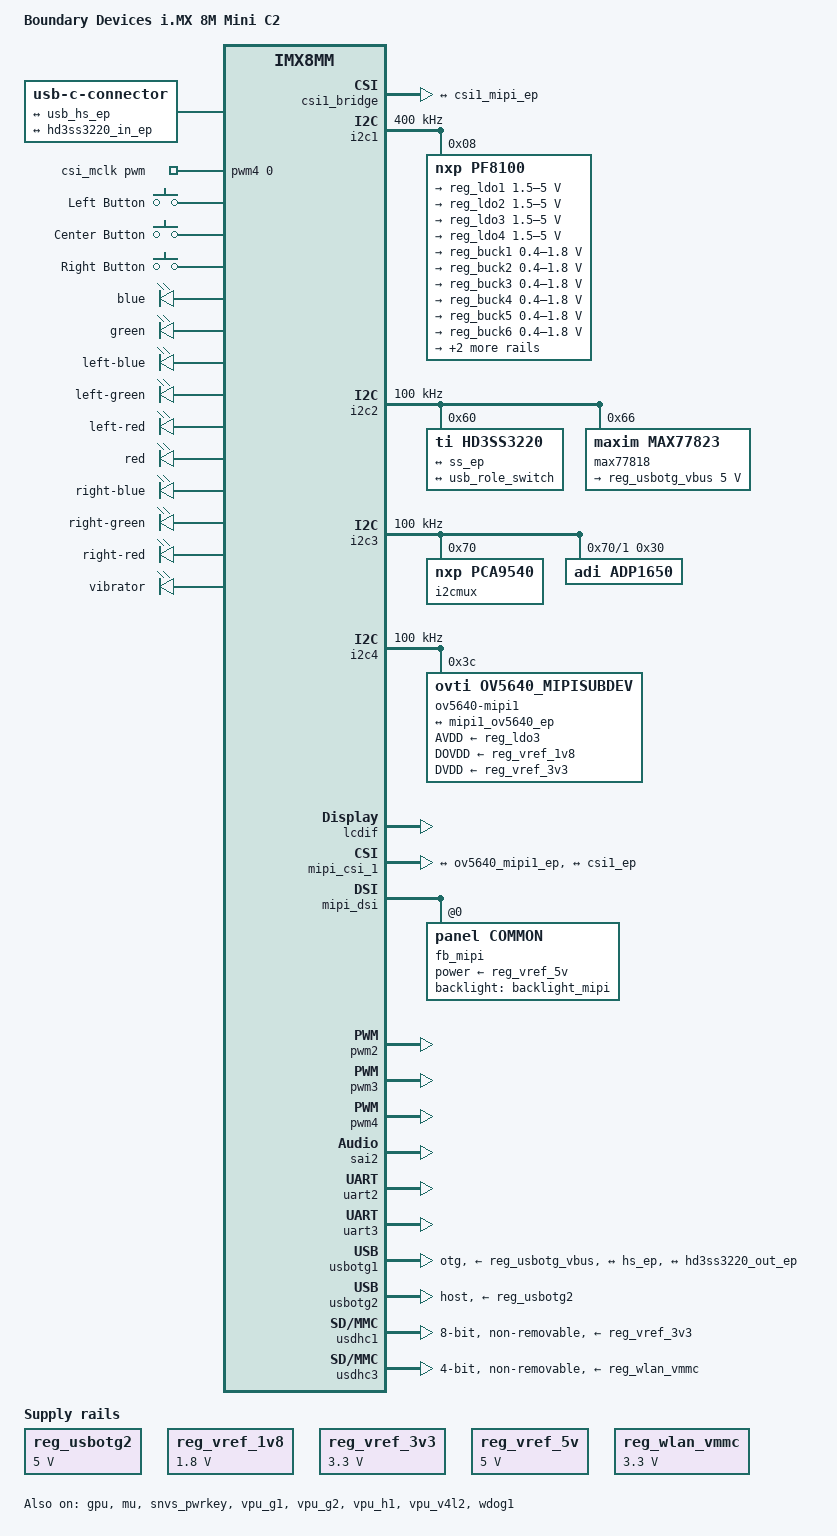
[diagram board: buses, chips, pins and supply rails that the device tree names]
// SPDX-License-Identifier: (GPL-2.0+ OR MIT)
/*
 * Copyright 2021 Boundary Devices
 */

/dts-v1/;
#include "imx8mm.dtsi"
#include "panel-dlc0350gev06.dtsi"
#include "panel-ltk080a60a004t.dtsi"
#include "panel-m101nwwb.dtsi"
#define MX8MMN(a, b)	MX8MM_##a b
#define IMX8MMN(a)	IMX8MM_##a

&iomuxc {
	pinctrl-names = "default";
	pinctrl-0 = <&pinctrl_hog>;

	pinctrl_bt_rfkill: bt-rfkillgrp {
		fsl,pins = <
#define GP_BT_RFKILL_RESET	<&gpio3 14 GPIO_ACTIVE_LOW>
			MX8MMN(IOMUXC_NAND_DQS_GPIO3_IO14, 0x119)
		>;
	};

	pinctrl_gpio_keys: gpio-keysgrp {
		fsl,pins = <
#define GP_GPIOKEY_LEFT		<&gpio5 27 GPIO_ACTIVE_LOW>
			MX8MMN(IOMUXC_UART3_TXD_GPIO5_IO27, 0x149)
#define GP_GPIOKEY_CENTER	<&gpio1 8 GPIO_ACTIVE_LOW>
			MX8MMN(IOMUXC_GPIO1_IO08_GPIO1_IO8, 0x149)
#define GP_GPIOKEY_RIGHT	<&gpio1 6 GPIO_ACTIVE_LOW>
			MX8MMN(IOMUXC_GPIO1_IO06_GPIO1_IO6, 0x149)
		>;
	};

	pinctrl_hog: hoggrp {
		fsl,pins = <
			/* Fasboot button */
			MX8MMN(IOMUXC_GPIO1_IO07_GPIO1_IO7, 0x149)
			/* JS_PIN5 */
			MX8MMN(IOMUXC_UART3_RXD_GPIO5_IO26, 0x149)
			/* JS_PIN6 */
			MX8MMN(IOMUXC_GPIO1_IO14_GPIO1_IO14, 0x149)
		>;
	};

	pinctrl_i2c1: i2c1grp {
		fsl,pins = <
			MX8MMN(IOMUXC_I2C1_SCL_I2C1_SCL, 0x400000c3)
			MX8MMN(IOMUXC_I2C1_SDA_I2C1_SDA, 0x400000c3)
		>;
	};

	pinctrl_i2c1_1: i2c1_1grp {
		fsl,pins = <
#define GP_I2C1_SCL	<&gpio5 14 GPIO_OPEN_DRAIN>
			MX8MMN(IOMUXC_I2C1_SCL_GPIO5_IO14, 0x400000c3)
#define GP_I2C1_SDA	<&gpio5 15 GPIO_OPEN_DRAIN>
			MX8MMN(IOMUXC_I2C1_SDA_GPIO5_IO15, 0x400000c3)
		>;
	};

	pinctrl_i2c1_pf8100: i2c1-pf8100grp {
		fsl,pins = <
#define GP_I2C1_PF8100_EWARN	<&gpio3 3 GPIO_ACTIVE_LOW>
			MX8MMN(IOMUXC_NAND_CE2_B_GPIO3_IO3, 0x149)
#define GP_I2C1_PF8100_FAULT	<&gpio3 4 GPIO_ACTIVE_LOW>
			MX8MMN(IOMUXC_NAND_CE3_B_GPIO3_IO4, 0x149)
		>;
	};

	pinctrl_i2c2: i2c2grp {
		fsl,pins = <
			MX8MMN(IOMUXC_I2C2_SCL_I2C2_SCL, 0x400000c3)
			MX8MMN(IOMUXC_I2C2_SDA_I2C2_SDA, 0x400000c3)
		>;
	};

	pinctrl_i2c2_1: i2c2_1grp {
		fsl,pins = <
#define GP_I2C2_SCL	<&gpio5 16 GPIO_OPEN_DRAIN>
			MX8MMN(IOMUXC_I2C2_SCL_GPIO5_IO16, 0x400000c3)
#define GP_I2C2_SDA	<&gpio5 17 GPIO_OPEN_DRAIN>
			MX8MMN(IOMUXC_I2C2_SDA_GPIO5_IO17, 0x400000c3)
		>;
	};

	pinctrl_i2c2_hd3ss3220: i2c2-hd3ss3220grp {
		fsl,pins = <
#define GPIRQ_HD3SS3220	<&gpio3 25 IRQ_TYPE_LEVEL_LOW>
			MX8MMN(IOMUXC_SAI5_MCLK_GPIO3_IO25, 0x149)
			MX8MMN(IOMUXC_SAI5_RXFS_GPIO3_IO19, 0x109)
		>;
	};

	pinctrl_i2c2_max77818: i2c2-max77818grp {
		fsl,pins = <
#define GPIRQ_MAX77818_WCHG_VALID_INT	<&gpio5 0 IRQ_TYPE_LEVEL_LOW>
			MX8MMN(IOMUXC_SAI3_TXC_GPIO5_IO0, 0x149)
#define GPIRQ_MAX77818_WCHG_VALID	<&gpio4 31 IRQ_TYPE_LEVEL_LOW>
			MX8MMN(IOMUXC_SAI3_TXFS_GPIO4_IO31, 0x149)
#define GPIRQ_MAX77818_CHG_INT		<&gpio1 5 IRQ_TYPE_LEVEL_LOW>
			MX8MMN(IOMUXC_GPIO1_IO05_GPIO1_IO5, 0x149)
		>;
	};

	pinctrl_i2c3: i2c3grp {
		fsl,pins = <
			MX8MMN(IOMUXC_I2C3_SCL_I2C3_SCL, 0x400000c3)
			MX8MMN(IOMUXC_I2C3_SDA_I2C3_SDA, 0x400000c3)
		>;
	};

	pinctrl_i2c3_1: i2c3_1grp {
		fsl,pins = <
#define GP_I2C3_SCL	<&gpio5 18 GPIO_OPEN_DRAIN>
			MX8MMN(IOMUXC_I2C3_SCL_GPIO5_IO18, 0x400000c3)
#define GP_I2C3_SDA	<&gpio5 19 GPIO_OPEN_DRAIN>
			MX8MMN(IOMUXC_I2C3_SDA_GPIO5_IO19, 0x400000c3)
		>;
	};

	pinctrl_sn65dsi83: sn65dsi83grp {
		fsl,pins = <
#define GPIRQ_SN65DSI83	<&gpio1 1 IRQ_TYPE_LEVEL_HIGH>
			MX8MMN(IOMUXC_GPIO1_IO01_GPIO1_IO1, 0x04)
#define GP_SN65DSI83_EN	<&gpio1 9 GPIO_ACTIVE_HIGH>
			MX8MMN(IOMUXC_GPIO1_IO09_GPIO1_IO9, 0x106)
		>;
	};

	pinctrl_ts_gt911: ts-gt911grp {
		fsl,pins = <
#define GPIRQ_GT911 		<&gpio5 22 IRQ_TYPE_LEVEL_HIGH>
#define GP_GT911_IRQ 		<&gpio5 22 GPIO_ACTIVE_HIGH>
			MX8MMN(IOMUXC_UART1_RXD_GPIO5_IO22, 0x1d6)
			/* driver writes levels, instead of active/inactive */
#define GP_GT911_RESET		<&gpio5 23 GPIO_ACTIVE_HIGH>
			MX8MMN(IOMUXC_UART1_TXD_GPIO5_IO23, 0x149)
		>;
	};

	pinctrl_ts_ft5x06: ts-ft5x06grp {
		fsl,pins = <
#define GPIRQ_TS_FT5X06	<&gpio5 22 IRQ_TYPE_EDGE_FALLING>
#define GP_TS_FT5X06_WAKE	<&gpio5 22 GPIO_ACTIVE_LOW>
			MX8MMN(IOMUXC_UART1_RXD_GPIO5_IO22, 0x149)
#define GP_TS_FT5X06_RESET	<&gpio5 23 GPIO_ACTIVE_LOW>
			MX8MMN(IOMUXC_UART1_TXD_GPIO5_IO23, 0x109)
		>;
	};

	pinctrl_i2c3b_adp1650: i2c3b-adp1650grp {
		fsl,pins = <
#define GP_FLASH_EN		<&gpio3 21 GPIO_ACTIVE_HIGH>
			MX8MMN(IOMUXC_SAI5_RXD0_GPIO3_IO21, 0x109)
#define GP_FLASH_STROBE		<&gpio3 22 GPIO_ACTIVE_HIGH>
			MX8MMN(IOMUXC_SAI5_RXD1_GPIO3_IO22, 0x109)
#define GP_TORCH_EN		<&gpio5 29 GPIO_ACTIVE_HIGH>
			MX8MMN(IOMUXC_UART4_TXD_GPIO5_IO29, 0x109)
		>;
	};

	pinctrl_i2c4: i2c4grp {
		fsl,pins = <
			MX8MMN(IOMUXC_I2C4_SCL_I2C4_SCL, 0x400000c3)
			MX8MMN(IOMUXC_I2C4_SDA_I2C4_SDA, 0x400000c3)
		>;
	};

	pinctrl_i2c4_1: i2c4_1grp {
		fsl,pins = <
#define GP_I2C4_SCL	<&gpio5 20 GPIO_OPEN_DRAIN>
			MX8MMN(IOMUXC_I2C4_SCL_GPIO5_IO20, 0x400000c3)
#define GP_I2C4_SDA	<&gpio5 21 GPIO_OPEN_DRAIN>
			MX8MMN(IOMUXC_I2C4_SDA_GPIO5_IO21, 0x400000c3)
		>;
	};

	pinctrl_i2c4_ov5640_mipi: i2c4-ov5640-mipigrp {
		fsl,pins = <
#define GP_OV5640_MIPI_POWER_DOWN	<&gpio1 11 GPIO_ACTIVE_HIGH>
			MX8MMN(IOMUXC_GPIO1_IO11_GPIO1_IO11, 0x141)
#define GP_OV5640_MIPI_RESET		<&gpio1 10 GPIO_ACTIVE_LOW>
			MX8MMN(IOMUXC_GPIO1_IO10_GPIO1_IO10, 0x101)
		>;
	};

	pinctrl_leds: ledsgrp {
		fsl,pins = <
#define GP_LED_BLUE		<&gpio2 18 GPIO_ACTIVE_HIGH>
			MX8MMN(IOMUXC_SD2_DATA3_GPIO2_IO18, 0x109)
#define GP_LED_GREEN		<&gpio2 17 GPIO_ACTIVE_HIGH>
			MX8MMN(IOMUXC_SD2_DATA2_GPIO2_IO17, 0x109)
#define GP_LED_RED		<&gpio2 16 GPIO_ACTIVE_HIGH>
			MX8MMN(IOMUXC_SD2_DATA1_GPIO2_IO16, 0x109)
#define GP_LED_LEFT_BLUE	<&gpio2 19 GPIO_ACTIVE_HIGH>
			MX8MMN(IOMUXC_SD2_RESET_B_GPIO2_IO19, 0x109)
#define GP_LED_LEFT_GREEN	<&gpio2 12 GPIO_ACTIVE_HIGH>
			MX8MMN(IOMUXC_SD2_CD_B_GPIO2_IO12, 0x109)
#define GP_LED_LEFT_RED		<&gpio2 20 GPIO_ACTIVE_HIGH>
			MX8MMN(IOMUXC_SD2_WP_GPIO2_IO20, 0x109)
#define GP_LED_RIGHT_BLUE	<&gpio2 15 GPIO_ACTIVE_HIGH>
			MX8MMN(IOMUXC_SD2_DATA0_GPIO2_IO15, 0x109)
#define GP_LED_RIGHT_GREEN	<&gpio2 14 GPIO_ACTIVE_HIGH>
			MX8MMN(IOMUXC_SD2_CMD_GPIO2_IO14, 0x109)
#define GP_LED_RIGHT_RED	<&gpio2 13 GPIO_ACTIVE_HIGH>
			MX8MMN(IOMUXC_SD2_CLK_GPIO2_IO13, 0x109)
#define GP_LED_VIBRATOR		<&gpio3 24 GPIO_ACTIVE_HIGH>
			MX8MMN(IOMUXC_SAI5_RXD3_GPIO3_IO24, 0x109)
		>;
	};

	pinctrl_mipi_dlc0350gev06: mipi-dlc0350gev06grp {
		fsl,pins = <
/* Reset pin used as enable */
#define GP_DLC0350_ENABLE	<&gpio1 3 GPIO_OPEN_DRAIN>
			MX8MMN(IOMUXC_GPIO1_IO03_GPIO1_IO3, 0x16)
		>;
	};

	pinctrl_mipi_ltk0680ytmdb: mipi-ltk0680ytmdbgrp {
		fsl,pins = <
#define GP_MIPI_RESET	<&gpio1 9 GPIO_ACTIVE_LOW>
			MX8MMN(IOMUXC_GPIO1_IO09_GPIO1_IO9, 0x16)
		>;
	};

	pinctrl_mipi_ltk080a60a004t: mipi-ltk080a60a004tgrp {
		fsl,pins = <
#define GP_LTK08_MIPI_EN	<&gpio1 1 GPIO_ACTIVE_HIGH>
			MX8MMN(IOMUXC_GPIO1_IO01_GPIO1_IO1, 0x116)
		>;
	};

	pinctrl_pwm2: pwm2grp {
		fsl,pins = <
			MX8MMN(IOMUXC_SPDIF_RX_PWM2_OUT, 0x16)
		>;
	};

	pinctrl_pwm3: pwm3grp {
		fsl,pins = <
			MX8MMN(IOMUXC_SPDIF_TX_PWM3_OUT, 0x16)
		>;
	};

	pinctrl_pwm4: pwm4grp {
		fsl,pins = <
			MX8MMN(IOMUXC_SAI3_MCLK_PWM4_OUT, 0x16)
		>;
	};

	pinctrl_reg_usbotg2: reg-usbotg2grp {
		fsl,pins = <
#define GP_USBOTG2_EN	<&gpio3 23 GPIO_ACTIVE_HIGH>
			MX8MMN(IOMUXC_SAI5_RXD2_GPIO3_IO23, 0x09)
		>;
	};

	pinctrl_reg_wlan_vmmc: reg-wlan-vmmcgrp {
		fsl,pins = <
#define GP_REG_WLAN_VMMC	<&gpio3 20 GPIO_ACTIVE_HIGH>
			MX8MMN(IOMUXC_SAI5_RXC_GPIO3_IO20, 0x16)
		>;
	};

	pinctrl_sai2: sai2grp {
		fsl,pins = <
			/* Bluetooth PCM */
			MX8MMN(IOMUXC_SAI2_TXFS_SAI2_TX_SYNC, 0xd6)
			MX8MMN(IOMUXC_SAI2_TXC_SAI2_TX_BCLK, 0xd6)
			MX8MMN(IOMUXC_SAI2_TXD0_SAI2_TX_DATA0, 0xd6)
			MX8MMN(IOMUXC_SAI2_RXD0_SAI2_RX_DATA0, 0xd6)
		>;
	};

	pinctrl_uart2: uart2grp {
		fsl,pins = <
			MX8MMN(IOMUXC_UART2_RXD_UART2_DCE_RX, 0x140)
			MX8MMN(IOMUXC_UART2_TXD_UART2_DCE_TX, 0x140)
		>;
	};

	pinctrl_uart3: uart3grp {
		fsl,pins = <
			MX8MMN(IOMUXC_ECSPI1_SCLK_UART3_DCE_RX, 0x140)
			MX8MMN(IOMUXC_ECSPI1_MOSI_UART3_DCE_TX, 0x140)
			MX8MMN(IOMUXC_ECSPI1_SS0_UART3_DCE_RTS_B, 0x140)
			MX8MMN(IOMUXC_ECSPI1_MISO_UART3_DCE_CTS_B, 0x140)
		>;
	};

	pinctrl_usbotg1: usbotg1grp {
		fsl,pins = <
			MX8MMN(IOMUXC_GPIO1_IO12_USB1_OTG_PWR, 0x16)
			MX8MMN(IOMUXC_GPIO1_IO13_USB1_OTG_OC, 0x156)
		>;
	};

	pinctrl_usdhc1: usdhc1grp {
		fsl,pins = <
			MX8MMN(IOMUXC_SD1_CLK_USDHC1_CLK, 0x190)
			MX8MMN(IOMUXC_SD1_CMD_USDHC1_CMD, 0x1d0)
			MX8MMN(IOMUXC_SD1_DATA0_USDHC1_DATA0, 0x1d0)
			MX8MMN(IOMUXC_SD1_DATA1_USDHC1_DATA1, 0x1d0)
			MX8MMN(IOMUXC_SD1_DATA2_USDHC1_DATA2, 0x1d0)
			MX8MMN(IOMUXC_SD1_DATA3_USDHC1_DATA3, 0x1d0)
			MX8MMN(IOMUXC_SD1_DATA4_USDHC1_DATA4, 0x1d0)
			MX8MMN(IOMUXC_SD1_DATA5_USDHC1_DATA5, 0x1d0)
			MX8MMN(IOMUXC_SD1_DATA6_USDHC1_DATA6, 0x1d0)
			MX8MMN(IOMUXC_SD1_DATA7_USDHC1_DATA7, 0x1d0)
#define GP_EMMC_RESET		<&gpio2 10 GPIO_ACTIVE_LOW>
			MX8MMN(IOMUXC_SD1_RESET_B_GPIO2_IO10, 0x141)
		>;
	};

	pinctrl_usdhc1_100mhz: usdhc1grp100mhz {
		fsl,pins = <
			MX8MMN(IOMUXC_SD1_CLK_USDHC1_CLK, 0x194)
			MX8MMN(IOMUXC_SD1_CMD_USDHC1_CMD, 0x1d4)
			MX8MMN(IOMUXC_SD1_DATA0_USDHC1_DATA0, 0x1d4)
			MX8MMN(IOMUXC_SD1_DATA1_USDHC1_DATA1, 0x1d4)
			MX8MMN(IOMUXC_SD1_DATA2_USDHC1_DATA2, 0x1d4)
			MX8MMN(IOMUXC_SD1_DATA3_USDHC1_DATA3, 0x1d4)
			MX8MMN(IOMUXC_SD1_DATA4_USDHC1_DATA4, 0x1d4)
			MX8MMN(IOMUXC_SD1_DATA5_USDHC1_DATA5, 0x1d4)
			MX8MMN(IOMUXC_SD1_DATA6_USDHC1_DATA6, 0x1d4)
			MX8MMN(IOMUXC_SD1_DATA7_USDHC1_DATA7, 0x1d4)
		>;
	};

	pinctrl_usdhc1_200mhz: usdhc1grp200mhz {
		fsl,pins = <
			MX8MMN(IOMUXC_SD1_CLK_USDHC1_CLK, 0x196)
			MX8MMN(IOMUXC_SD1_CMD_USDHC1_CMD, 0x1d6)
			MX8MMN(IOMUXC_SD1_DATA0_USDHC1_DATA0, 0x1d6)
			MX8MMN(IOMUXC_SD1_DATA1_USDHC1_DATA1, 0x1d6)
			MX8MMN(IOMUXC_SD1_DATA2_USDHC1_DATA2, 0x1d6)
			MX8MMN(IOMUXC_SD1_DATA3_USDHC1_DATA3, 0x1d6)
			MX8MMN(IOMUXC_SD1_DATA4_USDHC1_DATA4, 0x1d6)
			MX8MMN(IOMUXC_SD1_DATA5_USDHC1_DATA5, 0x1d6)
			MX8MMN(IOMUXC_SD1_DATA6_USDHC1_DATA6, 0x1d6)
			MX8MMN(IOMUXC_SD1_DATA7_USDHC1_DATA7, 0x1d6)
		>;
	};

	pinctrl_usdhc3: usdhc3grp {
		fsl,pins = <
			MX8MMN(IOMUXC_NAND_WE_B_USDHC3_CLK, 0x190)
			MX8MMN(IOMUXC_NAND_WP_B_USDHC3_CMD, 0x1d0)
			MX8MMN(IOMUXC_NAND_DATA04_USDHC3_DATA0, 0x1d0)
			MX8MMN(IOMUXC_NAND_DATA05_USDHC3_DATA1, 0x1d0)
			MX8MMN(IOMUXC_NAND_DATA06_USDHC3_DATA2, 0x1d0)
			MX8MMN(IOMUXC_NAND_DATA07_USDHC3_DATA3, 0x1d0)
			/* Bluetooth slow clock */
			MX8MMN(IOMUXC_GPIO1_IO00_ANAMIX_REF_CLK_32K, 0x03)
		>;
	};

	pinctrl_usdhc3_100mhz: usdhc3grp100mhz {
		fsl,pins = <
			MX8MMN(IOMUXC_NAND_WE_B_USDHC3_CLK, 0x194)
			MX8MMN(IOMUXC_NAND_WP_B_USDHC3_CMD, 0x1d4)
			MX8MMN(IOMUXC_NAND_DATA04_USDHC3_DATA0, 0x1d4)
			MX8MMN(IOMUXC_NAND_DATA05_USDHC3_DATA1, 0x1d4)
			MX8MMN(IOMUXC_NAND_DATA06_USDHC3_DATA2, 0x1d4)
			MX8MMN(IOMUXC_NAND_DATA07_USDHC3_DATA3, 0x1d4)
		>;
	};

	pinctrl_usdhc3_200mhz: usdhc3grp200mhz {
		fsl,pins = <
			MX8MMN(IOMUXC_NAND_WE_B_USDHC3_CLK, 0x196)
			MX8MMN(IOMUXC_NAND_WP_B_USDHC3_CMD, 0x1d6)
			MX8MMN(IOMUXC_NAND_DATA04_USDHC3_DATA0, 0x1d6)
			MX8MMN(IOMUXC_NAND_DATA05_USDHC3_DATA1, 0x1d6)
			MX8MMN(IOMUXC_NAND_DATA06_USDHC3_DATA2, 0x1d6)
			MX8MMN(IOMUXC_NAND_DATA07_USDHC3_DATA3, 0x1d6)
		>;
	};

	pinctrl_wdog: wdoggrp {
		fsl,pins = <
			MX8MMN(IOMUXC_GPIO1_IO02_WDOG1_WDOG_B, 0x140)
		>;
	};
};

/ {
	model = "Boundary Devices i.MX 8M Mini C2";
	compatible = "boundary,imx8mm-c2", "fsl,imx8mm";

	aliases {
		backlight_mipi = &backlight_mipi;
		backlight_mipi2 = &backlight_mipi2;
		fb_mipi = &fb_mipi;
		lcdif = &lcdif;
		mipi = &fb_mipi;
		mipi_dsi = &mipi_dsi;
		mipi_to_lvds = &mipi_to_lvds;
		pwm_mipi = &pwm3;
		t_mipi = &t_mipi;
		ts_ft5x06 = &ts_ft5x06;
		ts_goodix = &ts_goodix;
	};

	backlight_mipi: backlight-mipi {
		alias = <&backlight_mipi>;
		brightness-levels = <0 1 2 3 4 5 6 7 8 9 10>;
		compatible = "pwm-backlight";
		default-brightness-level = <8>;
		display = <&display_subsystem>;
		pwms = <&pwm2 0 30000 0>;		/* 33.3 Khz */
		status = "disabled";
	};

	backlight_mipi2: backlight-mipi2 {
		alias = <&backlight_mipi2>;
		brightness-levels = <0 1 2 3 4 5 6 7 8 9 10>;
		compatible = "pwm-backlight";
		default-brightness-level = <8>;
		display = <&display_subsystem>;
		pwms = <&pwm3 0 30000 0>;		/* 33.3 Khz */
		status = "disabled";
	};

	bt-rfkill {
		compatible = "net,rfkill-gpio";
		pinctrl-names = "default";
		pinctrl-0 = <&pinctrl_bt_rfkill>;
		name = "bt-rfkill";
		type = <2>; /* Bluetooth */
		reset-gpios = GP_BT_RFKILL_RESET;
		status = "okay";
	};

	connector {
		compatible = "usb-c-connector";
		label = "USB-C";
		data-role = "dual";

		ports {
			#address-cells = <1>;
			#size-cells = <0>;

			port@0 {
				reg = <0>;
				hs_ep: endpoint {
					remote-endpoint = <&usb_hs_ep>;
				};
			};

			port@1 {
				reg = <1>;
				ss_ep: endpoint {
					remote-endpoint = <&hd3ss3220_in_ep>;
				};
			};
		};
	};

	csi_mclk: csi-mclk {
		compatible = "pwm-clock";
		#clock-cells = <0>;
		clock-frequency = <20000000>;
		clock-output-names = "csi_mclk";
		pwms = <&pwm4 0 50 0>; /* 1 / 50 ns = 20 MHz */
	};

	gpio-keys {
		compatible = "gpio-keys";
		pinctrl-names = "default";
		pinctrl-0 = <&pinctrl_gpio_keys>;

		left {
			label = "Left Button";
			gpios = GP_GPIOKEY_LEFT;
			linux,code = <KEY_BACK>;
			gpio-key,wakeup;
		};

		center {
			label = "Center Button";
			gpios = GP_GPIOKEY_CENTER;
			linux,code = <KEY_HOMEPAGE>;
			gpio-key,wakeup;
		};

		right {
			label = "Right Button";
			gpios = GP_GPIOKEY_RIGHT;
			linux,code = <KEY_MENU>;
			gpio-key,wakeup;
		};
	};

	leds: leds {
		compatible = "gpio-leds";
		pinctrl-names = "default";
		pinctrl-0 = <&pinctrl_leds>;

		blue {
			gpios = GP_LED_BLUE;
			default-state = "off";
			retain-state-suspended;
		};

		green {
			gpios = GP_LED_GREEN;
			default-state = "off";
			retain-state-suspended;
		};

		left-blue {
			gpios = GP_LED_LEFT_BLUE;
			default-state = "off";
			retain-state-suspended;
		};

		left-green {
			gpios = GP_LED_LEFT_GREEN;
			default-state = "off";
			retain-state-suspended;
		};

		left-red {
			gpios = GP_LED_LEFT_RED;
			default-state = "off";
			retain-state-suspended;
		};

		red {
			gpios = GP_LED_RED;
			default-state = "off";
			retain-state-suspended;
		};

		right-blue {
			gpios = GP_LED_RIGHT_BLUE;
			default-state = "off";
			retain-state-suspended;
		};

		right-green {
			gpios = GP_LED_RIGHT_GREEN;
			default-state = "off";
			retain-state-suspended;
		};

		right-red {
			gpios = GP_LED_RIGHT_RED;
			default-state = "off";
			retain-state-suspended;
		};

		vibrator {
			gpios = GP_LED_VIBRATOR;
			default-state = "off";
			linux,default-trigger = "transient";
		};
	};

	reg_usbotg2: regulator-usbotg2 {
		compatible = "regulator-fixed";
		enable-active-high;
		gpio = GP_USBOTG2_EN;
		pinctrl-names = "default";
		pinctrl-0 = <&pinctrl_reg_usbotg2>;
		regulator-name = "usbotg2";
		regulator-min-microvolt = <5000000>;
		regulator-max-microvolt = <5000000>;
	};

	reg_vref_1v8: regulator-vref-1v8 {
		compatible = "regulator-fixed";
		regulator-name = "vref-1v8";
		regulator-min-microvolt = <1800000>;
		regulator-max-microvolt = <1800000>;
	};

	reg_vref_3v3: regulator-vref-3v3 {
		compatible = "regulator-fixed";
		regulator-name = "vref-3v3";
		regulator-min-microvolt = <3300000>;
		regulator-max-microvolt = <3300000>;
	};

	reg_vref_5v: regulator-vref-5v {
		compatible = "regulator-fixed";
		regulator-name = "vref-5v";
		regulator-min-microvolt = <5000000>;
		regulator-max-microvolt = <5000000>;
	};

	reg_wlan_vmmc: regulator-wlan-vmmc {
		compatible = "regulator-fixed";
		pinctrl-names = "default";
		pinctrl-0 = <&pinctrl_reg_wlan_vmmc>;
		regulator-name = "reg_wlan_vmmc";
		regulator-min-microvolt = <3300000>;
		regulator-max-microvolt = <3300000>;
		gpio = GP_REG_WLAN_VMMC;
		startup-delay-us = <70000>;
		enable-active-high;
	};
};

&A53_0 {
	cpu-supply = <&reg_buck3>;
};

&csi1_bridge {
	fsl,mipi-mode;
	status = "okay";

	port {
		csi1_ep: endpoint {
			remote-endpoint = <&csi1_mipi_ep>;
		};
	};
};

&gpu {
	status = "okay";
};

&i2c1 {
	clock-frequency = <400000>;
	pinctrl-names = "default", "gpio";
	pinctrl-0 = <&pinctrl_i2c1>;
	pinctrl-1 = <&pinctrl_i2c1_1>;
	scl-gpios = GP_I2C1_SCL;
	sda-gpios = GP_I2C1_SDA;
	status = "okay";

	pf8100@8 {
		compatible = "nxp,pf8100";
		pinctrl-names = "default";
		pinctrl-0 = <&pinctrl_i2c1_pf8100>;
		reg = <0x08>;

		regulators {
			reg_ldo1: ldo1 {
				regulator-always-on;
				regulator-boot-on;
				regulator-max-microvolt = <5000000>;
				regulator-min-microvolt = <1500000>;
			};

			reg_ldo2: ldo2 {
				regulator-always-on;
				regulator-boot-on;
				regulator-max-microvolt = <5000000>;
				regulator-min-microvolt = <1500000>;
#if 0
				/* vselect low is 3.3V, high is 1.8V */
				vselect-en;
#endif
			};

			reg_ldo3: ldo3 {
				regulator-always-on;
				regulator-boot-on;
				regulator-max-microvolt = <5000000>;
				regulator-min-microvolt = <1500000>;
			};

			reg_ldo4: ldo4 {
				regulator-always-on;
				regulator-boot-on;
				regulator-max-microvolt = <5000000>;
				regulator-min-microvolt = <1500000>;
			};

			reg_buck1: buck1 {
				nxp,phase-shift = <0>;
				regulator-max-microamp = <4500000>;
				regulator-always-on;
				regulator-boot-on;
				regulator-max-microvolt = <1800000>;
				regulator-min-microvolt =  <400000>;
			};

			reg_buck2: buck2 {
				regulator-always-on;
				regulator-boot-on;
				regulator-max-microvolt = <1800000>;
				regulator-min-microvolt =  <400000>;
			};

			reg_buck3: buck3 {
				regulator-always-on;
				regulator-boot-on;
				regulator-max-microvolt = <1800000>;
				regulator-min-microvolt =  <400000>;
				fast-slew = <1>;
			};

			reg_buck4: buck4 {
				regulator-always-on;
				regulator-boot-on;
				regulator-max-microvolt = <1800000>;
				regulator-min-microvolt =  <400000>;
				fast-slew = <1>;
			};

			reg_buck5: buck5 {
				regulator-always-on;
				regulator-boot-on;
				regulator-max-microvolt = <1800000>;
				regulator-min-microvolt =  <400000>;
			};

			reg_buck6: buck6 {
				regulator-always-on;
				regulator-boot-on;
				regulator-max-microvolt = <1800000>;
				regulator-min-microvolt =  <400000>;
			};

			reg_buck7: buck7 {
				regulator-always-on;
				regulator-boot-on;
				regulator-max-microvolt = <4100000>;
				regulator-min-microvolt = <1000000>;
			};

			reg_vsnvs: vsnvs {
				regulator-always-on;
				regulator-boot-on;
				regulator-max-microvolt = <3300000>;
				regulator-min-microvolt = <1800000>;
			};
		};
	};
};

&i2c2 {
	clock-frequency = <100000>;
	pinctrl-names = "default", "gpio";
	pinctrl-0 = <&pinctrl_i2c2>;
	pinctrl-1 = <&pinctrl_i2c2_1>;
	scl-gpios = GP_I2C2_SCL;
	sda-gpios = GP_I2C2_SDA;
	status = "okay";

	hd3ss3220@60 {
		compatible = "ti,hd3ss3220";
		interrupts-extended = GPIRQ_HD3SS3220;
		pinctrl-names = "default";
		pinctrl-0 = <&pinctrl_i2c2_hd3ss3220>;
		reg = <0x60>;

		ports {
			#address-cells = <1>;
			#size-cells = <0>;

			port@0 {
				reg = <0>;
				hd3ss3220_in_ep: endpoint {
					remote-endpoint = <&ss_ep>;
				};
			};

			port@1 {
				reg = <1>;
				hd3ss3220_out_ep: endpoint {
					remote-endpoint = <&usb_role_switch>;
				};
			};
		};
	};

	max77818@66 {
		compatible = "maxim,max77823";
		pinctrl-names = "default";
		pinctrl-0 = <&pinctrl_i2c2_max77818>;
		reg = <0x66>;
		interrupts-extended = GPIRQ_MAX77818_CHG_INT;
		max77823,irq-gpio = GPIRQ_MAX77818_CHG_INT;
		max77823,wakeup = <1>;

		max77823_battery: battery {
			compatible = "samsung,sec-battery";
		};

		max77823_charger: charger {
			compatible = "samsung,max77823-charger";
		};

		max77823_fuelgauge: fuelgauge {
			compatible = "samsung,max77823-fuelgauge";
		};
	};
};

&i2c3 {
	clock-frequency = <100000>;
	pinctrl-names = "default", "gpio";
	pinctrl-0 = <&pinctrl_i2c3>;
	pinctrl-1 = <&pinctrl_i2c3_1>;
	scl-gpios = GP_I2C3_SCL;
	sda-gpios = GP_I2C3_SDA;
	status = "okay";

	i2cmux@70 {
		compatible = "nxp,pca9540";
		reg = <0x70>;
		#address-cells = <1>;
		#size-cells = <0>;

		i2c3a: i2c3@0 {
			reg = <0>;
			#address-cells = <1>;
			#size-cells = <0>;
		};

		i2c3b: i2c3@1 {
			reg = <1>;
			#address-cells = <1>;
			#size-cells = <0>;
		};
	};
};

&i2c3a {
	ts_ft5x06: touchscreen@38 {
		compatible = "edt,ft5x06-ts";
		interrupts-extended = GPIRQ_TS_FT5X06;
		pinctrl-names = "default";
		pinctrl-0 = <&pinctrl_ts_ft5x06>;
		reg = <0x38>;
		reset-gpios = GP_TS_FT5X06_RESET;
		status = "disabled";
		wakeup-gpios = GP_TS_FT5X06_WAKE;
	};

	ts_goodix: touchscreen@5d {
		compatible = "goodix,gt9271";
		display = <&display_subsystem>;
		esd-recovery-timeout-ms = <2000>;
		interrupts-extended = GPIRQ_GT911;
		irq-gpios = GP_GT911_IRQ;
		pinctrl-names = "default";
		pinctrl-0 = <&pinctrl_ts_gt911>;
		reg = <0x5d>;
		reset-gpios = GP_GT911_RESET;
		status = "disabled";
	};
};

&i2c3b {
	adp1650@30 {
		compatible = "adi,adp1650";
		pinctrl-names = "default";
		pinctrl-0 = <&pinctrl_i2c3b_adp1650>;
		reg = <0x30>;
		enable-gpios = GP_FLASH_EN;
		strobe-gpios = GP_FLASH_STROBE;
		torch-gpios = GP_TORCH_EN;
	};
};

&i2c4 {
	clock-frequency = <100000>;
	pinctrl-names = "default", "gpio";
	pinctrl-0 = <&pinctrl_i2c4>;
	pinctrl-1 = <&pinctrl_i2c4_1>;
	scl-gpios = GP_I2C4_SCL;
	sda-gpios = GP_I2C4_SDA;
	status = "okay";

	ov5640-mipi1@3c {
		AVDD-supply = <&reg_ldo3>;
		DOVDD-supply = <&reg_vref_1v8>;
		DVDD-supply = <&reg_vref_3v3>;
		clocks = <&csi_mclk>;
		clock-names = "xclk";
		compatible = "ovti,ov5640_mipisubdev";
		csi_id = <0>;
		mclk = <20000000>;
		mipi_csi;
		pinctrl-names = "default";
		pinctrl-0 = <&pinctrl_i2c4_ov5640_mipi>;
		powerdown-gpios = GP_OV5640_MIPI_POWER_DOWN;
		reg = <0x3c>;
		reset-gpios = GP_OV5640_MIPI_RESET;
		status = "okay";

		port {
			ov5640_mipi1_ep: endpoint {
				remote-endpoint = <&mipi1_ov5640_ep>;
			};
		};
	};
};

&lcdif {
	status = "okay";
};

&max77823_battery {
	status = "okay";
	battery,vendor = "SDI SDI";
	battery,charger_name = "max77823-charger";
	battery,fuelgauge_name = "max77823-fuelgauge";
	battery,technology = <2>; /* POWER_SUPPLY_TECHNOLOGY_LION */
	battery,bat_irq_attr = <0x3>;

	battery,chip_vendor = "QCOM";
	battery,temp_adc_type = <1>; /* SEC_BATTERY_ADC_TYPE_AP */

	battery,polling_time = <10 30 30 30 3600>;

	battery,adc_check_count = <6>;

	/* SEC_BATTERY_CABLE_CHECK_PSY | SEC_BATTERY_CABLE_CHECK_NOINCOMPATIBLECHARGE */
	battery,cable_check_type = <6>;
	battery,cable_source_type = <1>; /* SEC_BATTERY_CABLE_SOURCE_EXTERNAL */
	battery,event_check;
	battery,event_waiting_time = <600>;
	battery,polling_type = <1>; /* SEC_BATTERY_MONITOR_ALARM */
	battery,monitor_initial_count = <3>;

	battery,battery_check_type = <6>; /* SEC_BATTERY_CHECK_INT */
	battery,check_count = <0>;
	battery,check_adc_max = <1440>;
	battery,check_adc_min = <0>;

	battery,ovp_uvlo_check_type = <3>; /* SEC_BATTERY_OVP_UVLO_CHGPOLLING */

	battery,thermal_source = <0>; /* SEC_BATTERY_THERMAL_SOURCE_FG */

	battery,temp_check_type = <0>; /* SEC_BATTERY_TEMP_CHECK_NONE */
	battery,temp_check_count = <1>;
	battery,full_check_type = <7>; /* SEC_BATTERY_FULLCHARGED_CHGPSY */
	battery,full_check_type_2nd = <3>; /* SEC_BATTERY_FULLCHARGED_TIME */
	battery,full_check_count = <1>;
	battery,chg_gpio_full_check = <0>;
	battery,chg_polarity_full_check = <1>;

	/* SEC_BATTERY_FULL_CONDITION_SOC |
	   SEC_BATTERY_FULL_CONDITION_NOTIMEFULL |
	   SEC_BATTERY_FULL_CONDITION_VCELL */
	battery,full_condition_type = <13>;
	battery,full_condition_soc = <97>;
	battery,full_condition_vcell = <4350000>;

	battery,recharge_check_count = <1>;
	battery,recharge_condition_type = <4>; /* SEC_BATTERY_RECHARGE_CONDITION_VCELL */
	battery,recharge_condition_soc = <98>;
	battery,recharge_condition_vcell = <4350000>;

	battery,charging_total_time = <21600>;
	battery,recharging_total_time = <5400>;
	battery,charging_reset_time = <0>;
};

&max77823_charger {
	battery,charger_name = "max77823-charger";
	boost = <1>;
	battery,chg_gpio_en = <0>;
	battery,chg_polarity_en = <0>;
	battery,chg_gpio_status = <0>;
	battery,chg_polarity_status = <0>;
	battery,chg_float_voltage = <4400>;
	battery,ovp_uvlo_check_type = <4>; /* SEC_BATTERY_OVP_UVLO_CHGINT */
	battery,full_check_type = <7>; /* SEC_BATTERY_FULLCHARGED_CHGPSY */

	battery,input_current_limit    = <1800 460  460 4000  500 4000 1000  460  460  460  460  460 460 1000  760 1800 1800 460 1300  300  700 1300 1800  300   80 1800 460 1000 1633 1000 1000 4000>;
	battery,fast_charging_current  = <2100   0  460 2100  460 2100 1000  460  460  460  460  460   0 1200  900 2100 2100   0 1300  300  700 1300 1800  300   80 2100   0 1000 2800 1000 1000 2100>;
	battery,full_check_current_1st = <200    0  200  200  200  200  200  200  200  200  200  200   0  200  200  200  200   0  200  200  200  200  200  200  200  200   0  200  200  200  200  200>;
	battery,full_check_current_2nd = <2400   0 2400 2400 2400 2400 2400 2400 2400 2400 2400 2400   0 2400 2400 2400 2400   0 2400 2400 2400 2400 2400 2400 2400 2400   0 2400 2400 2400 2400 2400>;
	bypass-mv = <5100>;

	regulators {
		reg_usbotg_vbus: otg {
			regulator-min-microvolt = <5000000>;
			regulator-max-microvolt = <5000000>;
		};
	};
};

&max77823_fuelgauge {
	compatible = "samsung,max77823-fuelgauge";
	fuelgauge,capacity_mAh = <6400>;
	fuelgauge,capacity_max = <990>;
	fuelgauge,capacity_max_margin = <50>;
	fuelgauge,capacity_min = <0>;
	fuelgauge,capacity_calculation_type = <0x17>;
	fuelgauge,fuel_alert_soc = <1>;
	empty_detect_voltage = <2900>;
	empty_recovery_voltage = <3100>;
	/* fuelgauge,repeated_fuelalert; */
	temp-disabled;
	temp-calibration = <0 (-6763) 9858>;
	/* if temp-calibration defined, temp-calibration-data not used */
	temp-calibration-data = <250 0x7cde
				 255 0x7c50
				 260 0x7aa0
				 265 0x792e
				 270 0x788e
				 275 0x7714
				 280 0x761a
				 285 0x7536
				 290 0x73ca
				 295 0x7326
				 300 0x726c
				 305 0x71cc
				 310 0x71b2
				 315 0x70a4
				 320 0x6f6a
				 325 0x6eae
				 330 0x6a2e
				 335 0x6800
				 340 0x673c
				 345 0x665a
				 350 0x65b4
				 355 0x6478
				 360 0x6318
				 365 0x6270
				 370 0x614e
				 375 0x5f56
				 380 0x5ed2
				 385 0x5d9e
				 390 0x5b38
				 395 0x5ae0
				 400 0x59ce
				 405 0x57b2
				 410 0x55f2
				 415 0x53c2
				 420 0x505a>;
};

&mipi_csi_1 {
	#address-cells = <1>;
	#size-cells = <0>;
	status = "okay";
	port {
		mipi1_ov5640_ep: endpoint@1 {
			remote-endpoint = <&ov5640_mipi1_ep>;
			data-lanes = <2>;
			csis-hs-settle = <13>;
			csis-clk-settle = <2>;
			csis-wclk;
		};

		csi1_mipi_ep: endpoint@2 {
			remote-endpoint = <&csi1_ep>;
		};
	};
};

&mipi_dsi {
	assigned-clocks = <&clk IMX8MMN(CLK_DSI_CORE)>,
			  <&clk IMX8MMN(CLK_DSI_PHY_REF)>,
			  <&clk IMX8MMN(VIDEO_PLL1_REF_SEL)>,
			  <&clk IMX8MMN(CLK_LCDIF_PIXEL)>;
	assigned-clock-parents = <&clk IMX8MMN(SYS_PLL1_266M)>,
				 <&clk IMX8MMN(VIDEO_PLL1_OUT)>,
				 <&clk IMX8MMN(CLK_24M)>;
	assigned-clock-rates = <266000000>, <0>, <0>, <66000000>;

	clocks = <&clk IMX8MMN(CLK_DSI_CORE)>,
		 <&clk IMX8MMN(CLK_DSI_PHY_REF)>,
		 <&clk IMX8MMN(CLK_LCDIF_PIXEL)>;
	clock-names = "cfg", "pll-ref", "pixel_clock";
	status = "okay";

	fb_mipi: panel@0 {
		backlight = <&backlight_mipi>;
		bits-per-color = <8>;
		bridge-de-active = <0>;
		bus-format = "rgb888";
		clocks = <&mipi_dsi 0>,
			<&clk IMX8MMN(CLK_LCDIF_PIXEL)>;
		clock-names = "mipi_clk", "pixel_clock";
		compatible = "panel,common";
		dsi-format = "rgb888";
		dsi-lanes = <4>;
		mode-skip-eot;
		mode-video;
		mode-video-burst;
		panel-height-mm = <136>;
		panel-width-mm = <217>;
		pinctrl-names = "sn65dsi83";
		pinctrl-0 = <&pinctrl_sn65dsi83>;
		power-supply = <&reg_vref_5v>;
		reg = <0>;
		sn65dsi83 = <&mipi_to_lvds>;
		spwg;

		display-timings {
			t_mipi: t-dsi-default {
				/* m101nwwb by default */
				clock-frequency = <66000000>;
				hactive = <1280>;
				vactive = <800>;
				hback-porch = <5>;
				hfront-porch = <123>;
				vback-porch = <3>;
				vfront-porch = <24>;
				hsync-len = <1>;
				vsync-len = <1>;
				hsync-active = <0>;
				vsync-active = <0>;
				de-active = <1>;
			};
		};

		mipi_to_lvds: mipi-to-lvds {
			alias = <&mipi_to_lvds>;
			enable-gpios = GP_SN65DSI83_EN;
			i2c-address = <0x2c>;
			i2c-bus = <&i2c3a>;
			interrupts-extended = GPIRQ_SN65DSI83;
			status = "disabled";
		};
	};
};

&mu {
	status = "okay";
};

&pgc_vpumix {
	dvfs-supply = <&reg_buck5>;
	idle-microvolt = <850000 805000 900000>;
};

&pwm2 {
	pinctrl-names = "default";
	pinctrl-0 = <&pinctrl_pwm2>;
	status = "okay";
};

&pwm3 {
	pinctrl-names = "default";
	pinctrl-0 = <&pinctrl_pwm3>;
	status = "okay";
};

&pwm4 {
	assigned-clocks = <&clk IMX8MMN(CLK_PWM4)>;
	assigned-clock-parents = <&clk IMX8MMN(SYS_PLL1_40M)>;
	assigned-clock-rates = <40000000>;
	pinctrl-names = "default";
	pinctrl-0 = <&pinctrl_pwm4>;
	status = "okay";
};

&sai2 {
	pinctrl-names = "default";
	pinctrl-0 = <&pinctrl_sai2>;
	status = "okay";
};

&snvs_pwrkey {
	status = "okay";
};

&uart2 { /* console */
	pinctrl-names = "default";
	pinctrl-0 = <&pinctrl_uart2>;
	assigned-clocks = <&clk IMX8MMN(CLK_UART2)>;
	assigned-clock-parents = <&clk IMX8MMN(CLK_24M)>;
	status = "okay";
};

&uart3 { /* BT */
	pinctrl-names = "default";
	pinctrl-0 = <&pinctrl_uart3>;
	assigned-clocks = <&clk IMX8MMN(CLK_UART3)>;
	assigned-clock-parents = <&clk IMX8MMN(SYS_PLL1_80M)>;
	uart-has-rtscts;
	status = "okay";
};

&usbotg1 {
	dr_mode = "otg";
	over-current-active-low;
	pinctrl-names = "default";
	pinctrl-0 = <&pinctrl_usbotg1>;
	power-active-high;
	status = "okay";
	vbus-supply = <&reg_usbotg_vbus>;

	ports {
		#address-cells = <1>;
		#size-cells = <0>;

		port@0 {
			reg = <0>;
			usb_hs_ep: endpoint {
				remote-endpoint = <&hs_ep>;
			};
		};

		port@1 {
			reg = <1>;
			usb_role_switch: endpoint {
				remote-endpoint = <&hd3ss3220_out_ep>;
			};
		};
	};
};

&usbotg2 {
	dr_mode = "host";
	disable-over-current;
	power-active-high;
	vbus-supply = <&reg_usbotg2>;
	status = "okay";
};

&usdhc1 {
	bus-width = <8>;
	no-mmc-hs400;
	non-removable;
	pinctrl-names = "default", "state_100mhz", "state_200mhz";
	pinctrl-0 = <&pinctrl_usdhc1>;
	pinctrl-1 = <&pinctrl_usdhc1_100mhz>;
	pinctrl-2 = <&pinctrl_usdhc1_200mhz>;
	status = "okay";
	vmmc-supply = <&reg_vref_3v3>;
	vqmmc-1-8-v;
	vqmmc-supply = <&reg_vref_1v8>;
};

&usdhc3 {
	bus-width = <4>;
	fsl,sdio-async-interrupt-enabled;
	keep-power-in-suspend;
	no-sd-uhs-sdr104;
	non-removable;
	pinctrl-names = "default", "state_100mhz", "state_200mhz";
	pinctrl-0 = <&pinctrl_usdhc3>;
	pinctrl-1 = <&pinctrl_usdhc3_100mhz>;
	pinctrl-2 = <&pinctrl_usdhc3_200mhz>;
	pm-ignore-notify;
	status = "okay";
	vmmc-supply = <&reg_wlan_vmmc>;
	vqmmc-1-8-v;
	vqmmc-supply = <&reg_vref_1v8>;
};

&vpu_g1 {
	status = "okay";
};

&vpu_g2 {
	status = "okay";
};

&vpu_h1 {
	status = "okay";
};

&vpu_v4l2 {
	status = "okay";
};

&wdog1 {
	pinctrl-names = "default";
	pinctrl-0 = <&pinctrl_wdog>;
	fsl,ext-reset-output;
	status = "okay";
};
